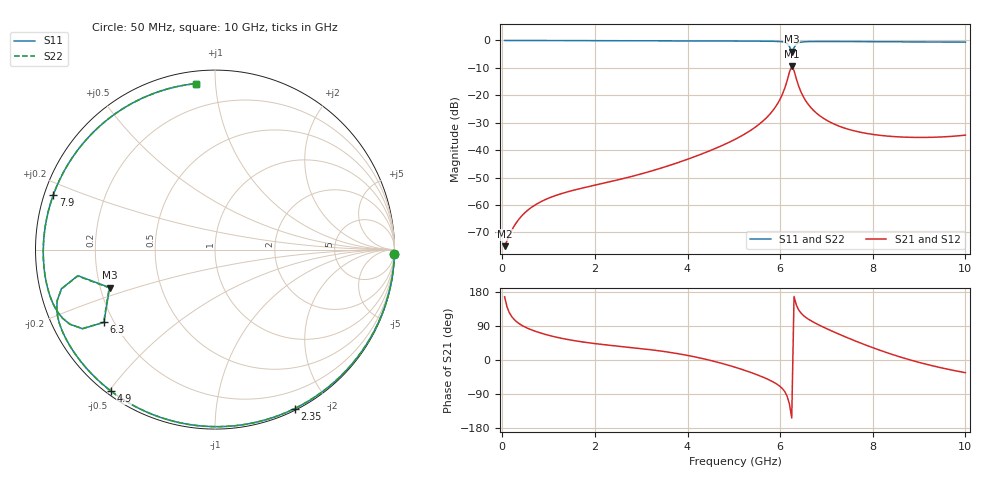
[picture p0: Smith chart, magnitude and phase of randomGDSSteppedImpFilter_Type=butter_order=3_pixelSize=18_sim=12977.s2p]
! freq	dB(S11)	phase(S11)	dB(S12)	phase(S12)
!  dB(S21)	phase(S21)	dB(S22)	phase(S22)
!S-par simulation data
#  GHz  S  DB  R 50
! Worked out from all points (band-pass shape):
!   200 points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, 50 MHz to 10 GHz, reference 50 ohm
!   highest |S21| = -9.48 dB at 6.25 GHz (marker M1); lowest = -75.0 dB at 50 MHz (marker M2)
!   |S21| within 3 dB of the highest: 6.186 GHz to 6.324 GHz (138.7 MHz wide, 2.22 % of centre)
!   lowest |S11| = -4.1 dB at 6.25 GHz (marker M3), VSWR 4.32, Z = 11.9 - j8.26 ohm
!   |S11| at or under -10 dB: nowhere
!   |S22| runs from -4.1 to 0.0 dB; largest |S21 - S12| = 0
!   S11 on the Smith chart (normalised r, x): 50 MHz: 0, -82; 2.35 GHz: 0.02, -1.62; 4.9 GHz: 0.01, -0.50; 6.3 GHz: 0.16, -0.29; 7.9 GHz: 0.03, +0.16; 10 GHz: 0.06, +0.89
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0.05  -0.00 -1.4  -75.05 166.8  -75.05 166.8  -0.00 -1.4
0.3  -0.00 -8.3  -66.55 101.9  -66.55 101.9  -0.00 -8.3
0.6  -0.02 -16.6  -61.27 81.0  -61.27 81.0  -0.02 -16.6
1.75  -0.06 -47.7  -53.76 47.4  -53.76 47.4  -0.06 -47.7
2.35  -0.08 -63.4  -51.44 38.4  -51.44 38.4  -0.08 -63.4
3.4  -0.12 -89.9  -46.72 24.0  -46.72 24.0  -0.12 -89.9
4.9  -0.19 -126.4  -37.13 -14.4  -37.13 -14.4  -0.19 -126.4
5.05  -0.20 -130.1  -35.87 -20.0  -35.87 -20.0  -0.20 -130.1
5.5  -0.24 -141.4  -31.17 -38.9  -31.17 -38.9  -0.24 -141.4
5.85  -0.31 -151.3  -25.41 -57.9  -25.41 -57.9  -0.31 -151.3
6  -0.41 -156.8  -21.38 -70.0  -21.38 -70.0  -0.41 -156.7
6.15  -1.08 -165.7  -14.71 -95.2  -14.71 -95.2  -1.08 -165.6
6.2  -2.18 -169.2  -11.58 -116.0  -11.58 -116.0  -2.17 -169.1
6.25  -4.09 -160.2  -9.48 -153.1  -9.48 -153.1  -4.06 -160.1
6.3  -2.62 -146.8  -11.02 167.7  -11.02 167.7  -2.60 -146.9
6.45  -0.62 -155.7  -18.79 123.8  -18.79 123.8  -0.62 -155.7
6.7  -0.39 -165.3  -25.16 101.2  -25.16 101.2  -0.39 -165.4
7.2  -0.38 -179.6  -30.77 71.9  -30.77 71.9  -0.38 -179.5
7.9  -0.44 161.3  -34.02 37.0  -34.02 37.0  -0.44 161.3
8.35  -0.48 148.6  -34.94 17.5  -34.94 17.5  -0.48 148.6
9.25  -0.56 121.3  -35.34 -14.1  -35.34 -14.1  -0.56 121.3
10  -0.62 96.5  -34.54 -33.5  -34.54 -33.5  -0.62 96.5
